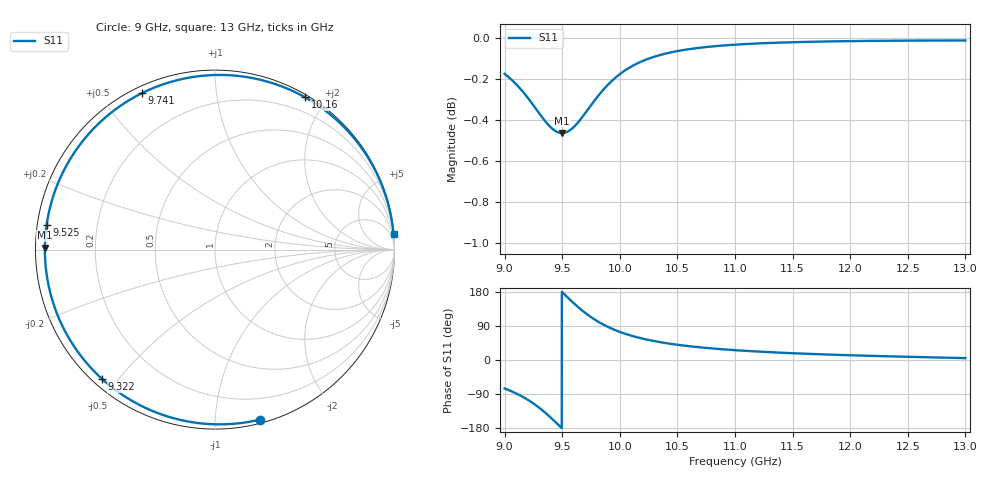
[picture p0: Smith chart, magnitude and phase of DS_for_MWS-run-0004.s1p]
! TOUCHSTONE file generated by CST DESIGN STUDIO
! Date and time: Tue Feb  4 13:48:46 2025
! Project name: C:\Work\MatlabApps\UnitCellOptimizationMatlab\CST\unitcell.cst
! Tree item: Tasks\Sweep1\SPara1\S-Parameters
! Header version: 2024
! Port assignment regex: !\s*Touchstone port\s*([0-9]+)\s*=\s*(CST MWS port|CST DES external port|CST DES block port)\s*(.+)\s* \(\"(.*)\"\)(\s*mode\s*([0-9]+))?.*
! Touchstone port assignment:
! Touchstone port 1 = CST DES external port 1 ("")
# GHz S MA R 50
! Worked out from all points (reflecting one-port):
!   4001 points, 9 GHz to 13 GHz, reference 50 ohm
!   lowest |S11| = -0.5 dB at 9.499 GHz (marker M1), VSWR 37.42, Z = 1.34 + j0.307 ohm
!   phase of S11 starts at -75 deg and turns -280 deg over the sweep
!   S11 on the Smith chart (normalised r, x): 9 GHz: 0.03, -1.30; 9.322 GHz: 0.03, -0.45; 9.525 GHz: 0.03, +0.07; 9.741 GHz: 0.03, +0.64; 10.16 GHz: 0.03, +1.75; 13 GHz: 0, +23
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9  0.9799 -75.3
9.084  0.9752 -85.9
9.185  0.9681 -102.0
9.256  0.9623 -116.0
9.322  0.9567 -131.2
9.369  0.9531 -143.4
9.419  0.95 -157.2
9.46  0.9485 -169.1
9.499  0.9479 179.3
9.5  0.9479 179.0
9.525  0.9482 171.6
9.578  0.9499 156.1
9.638  0.9537 139.7
9.689  0.9577 126.8
9.741  0.9621 115.0
9.794  0.9664 104.4
9.852  0.9709 94.2
9.925  0.9757 83.4
10  0.9797 74.2
10.157  0.9858 59.5
10.313  0.9896 49.1
10.5  0.9925 40.2
10.722  0.9945 32.6
11  0.996 25.9
11.5  0.9974 17.9
12  0.998 12.5
12.5  0.9983 8.4
13  0.9984 5.0
